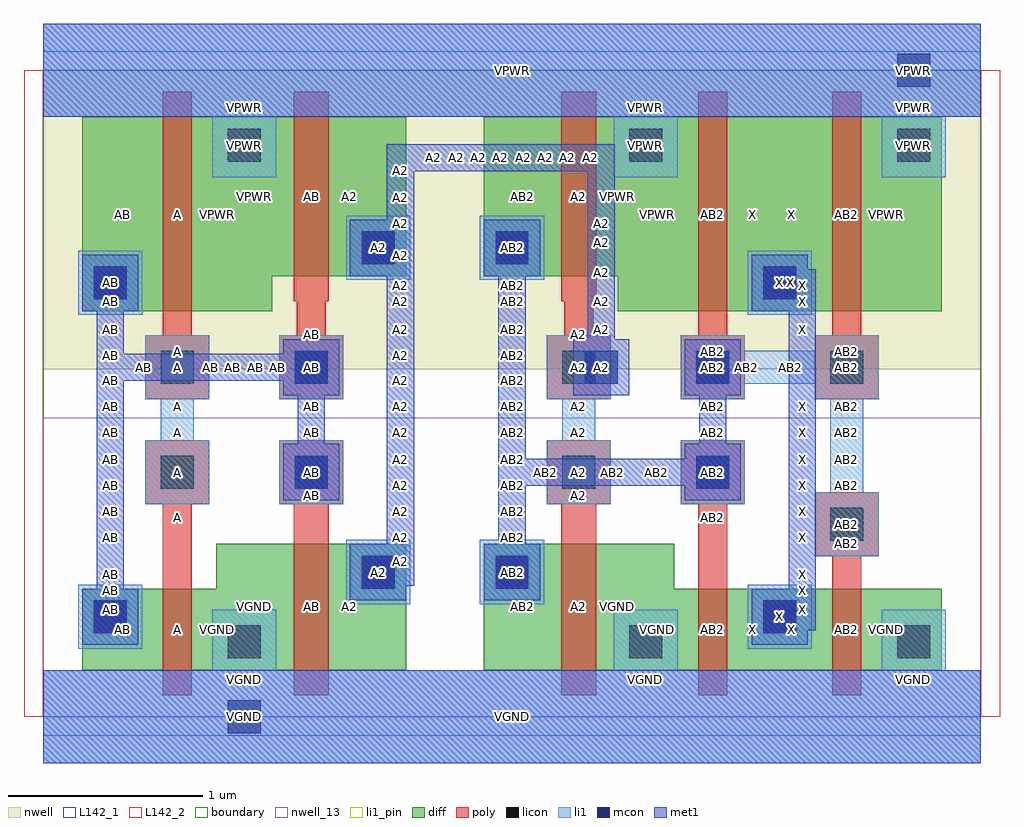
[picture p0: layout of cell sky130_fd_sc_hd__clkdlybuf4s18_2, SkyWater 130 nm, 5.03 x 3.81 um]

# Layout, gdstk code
import gdstk
lib = gdstk.Library(unit=1e-6, precision=1e-09)
def R(c, l, rs):  # rectangles x0, y0, x1, y1
    for r in rs: c.add(gdstk.rectangle(r[:2], r[2:], *l))
def A(c, l, x, y, w, h, nx, ny, dx, dy):  # array of equal rectangles
    R(c, l, [(x+i*dx, y+j*dy, x+i*dx+w, y+j*dy+h) for i in range(nx) for j in range(ny)])
def P(c, l, *ps):  # polygons
    for p in ps: c.add(gdstk.Polygon(p, *l))
nwell_13 = (64, 13)
nwell = (64, 20)
diff = (65, 20)
poly = (66, 20)
licon = (66, 44)
li1_pin = (67, 16)
li1 = (67, 20)
mcon = (67, 44)
met1 = (68, 20)
L142_1 = (142, 1)
L142_2 = (142, 2)
boundary = (235, 4)

sky130_fd_sc_hd__clkdlyb = lib.new_cell('sky130_fd_sc_hd__clkdlybuf4s18_2')
R(sky130_fd_sc_hd__clkdlyb, nwell_13, [(0,0,4.83,1.54)])
R(sky130_fd_sc_hd__clkdlyb, nwell, [(0,1.79,4.83,3.33)])
R(sky130_fd_sc_hd__clkdlyb, diff, [(0.2,0.24,0.615,0.66), (1.29,0.24,1.87,0.89), (2.27,0.24,2.67,0.89), (3.375,0.24,4.065,0.66), (4.065,0.24,4.63,0.66), (0.2,2.09,0.615,3.09), (3.375,2.09,4.065,3.09), (4.065,2.09,4.63,3.09), (1.29,2.27,1.87,3.09), (2.27,2.27,2.67,3.09)])
P(sky130_fd_sc_hd__clkdlyb, diff, [(0.2,0.24),(0.2,0.66),(0.89,0.66),(0.89,0.89),(1.87,0.89),(1.87,0.24)],
  [(2.27,0.24),(2.27,0.89),(3.25,0.89),(3.25,0.66),(4.63,0.66),(4.63,0.24)],
  [(0.2,2.09),(0.2,3.09),(1.87,3.09),(1.87,2.27),(1.18,2.27),(1.18,2.09)],
  [(2.96,2.09),(2.96,2.27),(2.27,2.27),(2.27,3.09),(4.63,3.09),(4.63,2.09)],
  [(0.615,0.24),(0.615,0.66),(0.89,0.66),(0.89,0.89),(1.29,0.89),(1.29,0.24)],
  [(2.67,0.24),(2.67,0.89),(3.25,0.89),(3.25,0.66),(3.375,0.66),(3.375,0.24)],
  [(0.615,2.09),(0.615,3.09),(1.29,3.09),(1.29,2.27),(1.18,2.27),(1.18,2.09)],
  [(2.96,2.09),(2.96,2.27),(2.67,2.27),(2.67,3.09),(3.375,3.09),(3.375,2.09)])
R(sky130_fd_sc_hd__clkdlyb, poly, [(1.29,1.02,1.305,1.095), (1.455,1.02,1.47,1.095), (2.67,1.02,2.685,1.095), (2.835,1.02,2.85,1.095)])
P(sky130_fd_sc_hd__clkdlyb, poly, [(2.67,0.11),(2.67,1.02),(2.685,1.02),(2.685,1.095),(2.595,1.095),(2.595,1.425),(2.925,1.425),(2.925,1.095),(2.835,1.095),(2.835,1.02),(2.85,1.02),(2.85,0.11)],
  [(2.595,1.635),(2.595,1.965),(2.685,1.965),(2.685,2.14),(2.67,2.14),(2.67,3.22),(2.85,3.22),(2.85,2.14),(2.835,2.14),(2.835,1.965),(2.925,1.965),(2.925,1.635)],
  [(0.615,0.11),(0.615,1.095),(0.525,1.095),(0.525,1.425),(0.855,1.425),(0.855,1.095),(0.765,1.095),(0.765,0.11)],
  [(0.525,1.635),(0.525,1.965),(0.615,1.965),(0.615,3.22),(0.765,3.22),(0.765,1.965),(0.855,1.965),(0.855,1.635)],
  [(1.29,0.11),(1.29,1.02),(1.305,1.02),(1.305,1.095),(1.215,1.095),(1.215,1.425),(1.545,1.425),(1.545,1.095),(1.455,1.095),(1.455,1.02),(1.47,1.02),(1.47,0.11)],
  [(1.215,1.635),(1.215,1.965),(1.305,1.965),(1.305,2.14),(1.29,2.14),(1.29,3.22),(1.47,3.22),(1.47,2.14),(1.455,2.14),(1.455,1.965),(1.545,1.965),(1.545,1.635)],
  [(4.065,0.11),(4.065,0.825),(3.975,0.825),(3.975,1.155),(4.305,1.155),(4.305,0.825),(4.215,0.825),(4.215,0.11)],
  [(3.375,0.11),(3.375,1.095),(3.285,1.095),(3.285,1.425),(3.615,1.425),(3.615,1.095),(3.525,1.095),(3.525,0.11)],
  [(3.285,1.635),(3.285,1.965),(3.375,1.965),(3.375,3.22),(3.525,3.22),(3.525,1.965),(3.615,1.965),(3.615,1.635)],
  [(3.975,1.635),(3.975,1.965),(4.065,1.965),(4.065,3.22),(4.215,3.22),(4.215,1.965),(4.305,1.965),(4.305,1.635)])
A(sky130_fd_sc_hd__clkdlyb, licon, 2.675, 1.715, 0.17, 0.17, 3, 1, 0.69, 0)
R(sky130_fd_sc_hd__clkdlyb, licon, [(0.95,0.3,1.12,0.47), (3.02,0.3,3.19,0.47), (4.4,0.3,4.57,0.47), (0.26,0.43,0.43,0.6), (3.71,0.43,3.88,0.6), (1.64,0.66,1.81,0.83), (2.33,0.66,2.5,0.83), (4.055,0.905,4.225,1.075), (0.605,1.175,0.775,1.345), (1.295,1.175,1.465,1.345), (2.675,1.175,2.845,1.345), (3.365,1.175,3.535,1.345), (0.605,1.715,0.775,1.885), (1.295,1.715,1.465,1.885), (0.26,2.15,0.43,2.32), (3.71,2.15,3.88,2.32), (1.64,2.33,1.81,2.5), (2.33,2.33,2.5,2.5), (0.95,2.86,1.12,3.03), (3.02,2.86,3.19,3.03), (4.4,2.86,4.57,3.03)])
R(sky130_fd_sc_hd__clkdlyb, li1_pin, [(0,-0.24,4.83,0.24), (3.63,0.35,3.96,0.68), (0,3.09,4.83,3.57)])
P(sky130_fd_sc_hd__clkdlyb, li1_pin, [(0.525,1.095),(0.525,1.425),(0.605,1.425),(0.605,1.635),(0.525,1.635),(0.525,1.965),(0.855,1.965),(0.855,1.635),(0.775,1.635),(0.775,1.425),(0.855,1.425),(0.855,1.095)])
R(sky130_fd_sc_hd__clkdlyb, li1, [(0.18,0.35,0.51,0.68), (3.63,0.35,3.96,0.68), (1.56,0.58,1.89,0.91), (2.25,0.58,2.58,0.91), (1.215,1.095,1.545,1.425), (3.285,1.095,3.615,1.425), (1.215,1.635,1.545,1.965), (0.18,2.07,0.51,2.4), (3.63,2.07,3.96,2.4), (1.56,2.25,1.89,2.58), (2.25,2.25,2.58,2.58)])
P(sky130_fd_sc_hd__clkdlyb, li1, [(2.595,1.095),(2.595,1.425),(2.675,1.425),(2.675,1.635),(2.595,1.635),(2.595,1.965),(2.925,1.965),(2.925,1.885),(2.96,1.885),(2.96,1.715),(2.925,1.715),(2.925,1.635),(2.845,1.635),(2.845,1.425),(2.925,1.425),(2.925,1.095)],
  [(0.87,2.78),(0.87,3.09),(0,3.09),(0,3.57),(4.83,3.57),(4.83,3.09),(4.65,3.09),(4.65,2.78),(4.32,2.78),(4.32,3.09),(3.27,3.09),(3.27,2.78),(2.94,2.78),(2.94,3.09),(1.2,3.09),(1.2,2.78)],
  [(0,-0.24),(0,0.24),(0.87,0.24),(0.87,0.55),(1.2,0.55),(1.2,0.24),(2.94,0.24),(2.94,0.55),(3.27,0.55),(3.27,0.24),(4.32,0.24),(4.32,0.55),(4.65,0.55),(4.65,0.24),(4.83,0.24),(4.83,-0.24)],
  [(0.525,1.095),(0.525,1.425),(0.605,1.425),(0.605,1.635),(0.525,1.635),(0.525,1.965),(0.855,1.965),(0.855,1.635),(0.775,1.635),(0.775,1.425),(0.855,1.425),(0.855,1.095)],
  [(3.975,0.825),(3.975,1.155),(4.055,1.155),(4.055,1.635),(3.975,1.635),(3.975,1.715),(3.615,1.715),(3.615,1.635),(3.285,1.635),(3.285,1.965),(3.615,1.965),(3.615,1.885),(3.975,1.885),(3.975,1.965),(4.305,1.965),(4.305,1.635),(4.225,1.635),(4.225,1.155),(4.305,1.155),(4.305,0.825)])
R(sky130_fd_sc_hd__clkdlyb, mcon, [(0.95,-0.085,1.12,0.085), (0.26,0.43,0.43,0.6), (3.71,0.43,3.88,0.6), (1.64,0.66,1.81,0.83), (2.33,0.66,2.5,0.83), (1.295,1.175,1.465,1.345), (3.365,1.175,3.535,1.345), (1.295,1.715,1.465,1.885), (2.79,1.715,2.96,1.885), (3.365,1.715,3.535,1.885), (0.26,2.15,0.43,2.32), (3.71,2.15,3.88,2.32), (1.64,2.33,1.81,2.5), (2.33,2.33,2.5,2.5), (4.4,3.245,4.57,3.415)])
R(sky130_fd_sc_hd__clkdlyb, met1, [(0,-0.24,4.83,0.24), (0,3.09,4.83,3.57)])
P(sky130_fd_sc_hd__clkdlyb, met1, [(1.58,0.6),(1.58,0.89),(1.77,0.89),(1.77,2.27),(1.58,2.27),(1.58,2.56),(1.77,2.56),(1.77,2.95),(2.945,2.95),(2.945,1.945),(3.02,1.945),(3.02,1.655),(2.73,1.655),(2.73,1.945),(2.805,1.945),(2.805,2.81),(1.91,2.81),(1.91,0.675),(1.87,0.675),(1.87,0.6)],
  [(0.2,0.37),(0.2,0.66),(0.275,0.66),(0.275,2.09),(0.2,2.09),(0.2,2.38),(0.49,2.38),(0.49,2.09),(0.415,2.09),(0.415,1.87),(1.235,1.87),(1.235,1.945),(1.525,1.945),(1.525,1.655),(1.45,1.655),(1.45,1.405),(1.525,1.405),(1.525,1.115),(1.235,1.115),(1.235,1.405),(1.31,1.405),(1.31,1.655),(1.235,1.655),(1.235,1.73),(0.415,1.73),(0.415,0.66),(0.49,0.66),(0.49,0.37)],
  [(3.65,0.37),(3.65,0.66),(3.84,0.66),(3.84,2.09),(3.65,2.09),(3.65,2.38),(3.94,2.38),(3.94,2.305),(3.98,2.305),(3.98,0.445),(3.94,0.445),(3.94,0.37)],
  [(2.27,0.6),(2.27,0.89),(2.345,0.89),(2.345,2.27),(2.27,2.27),(2.27,2.56),(2.56,2.56),(2.56,2.27),(2.485,2.27),(2.485,1.33),(3.305,1.33),(3.305,1.405),(3.38,1.405),(3.38,1.655),(3.305,1.655),(3.305,1.945),(3.595,1.945),(3.595,1.655),(3.52,1.655),(3.52,1.405),(3.595,1.405),(3.595,1.115),(3.305,1.115),(3.305,1.19),(2.485,1.19),(2.485,0.89),(2.56,0.89),(2.56,0.6)])
R(sky130_fd_sc_hd__clkdlyb, L142_1, [(0,-0.1,4.83,0), (0,3.33,4.83,3.43)])
R(sky130_fd_sc_hd__clkdlyb, L142_2, [(-0.1,0,0,3.33), (4.83,0,4.93,3.33)])
R(sky130_fd_sc_hd__clkdlyb, boundary, [(0,0,4.83,3.33)])
sky130_fd_sc_hd__clkdlyb.add(gdstk.Label('AB', (0.407,0.45), layer=65, texttype=20))
sky130_fd_sc_hd__clkdlyb.add(gdstk.Label('VGND', (0.897,0.45), layer=65, texttype=20))
sky130_fd_sc_hd__clkdlyb.add(gdstk.Label('VGND', (3.167,0.45), layer=65, texttype=20))
sky130_fd_sc_hd__clkdlyb.add(gdstk.Label('X', (3.657,0.45), layer=65, texttype=20))
sky130_fd_sc_hd__clkdlyb.add(gdstk.Label('VGND', (1.09,0.565), layer=65, texttype=20))
sky130_fd_sc_hd__clkdlyb.add(gdstk.Label('A2', (1.58,0.565), layer=65, texttype=20))
sky130_fd_sc_hd__clkdlyb.add(gdstk.Label('X', (3.857,0.45), layer=65, texttype=20))
sky130_fd_sc_hd__clkdlyb.add(gdstk.Label('VGND', (4.347,0.45), layer=65, texttype=20))
sky130_fd_sc_hd__clkdlyb.add(gdstk.Label('AB2', (2.47,0.565), layer=65, texttype=20))
sky130_fd_sc_hd__clkdlyb.add(gdstk.Label('VGND', (2.96,0.565), layer=65, texttype=20))
sky130_fd_sc_hd__clkdlyb.add(gdstk.Label('AB', (0.407,0.45), layer=65, texttype=20))
sky130_fd_sc_hd__clkdlyb.add(gdstk.Label('VGND', (0.897,0.45), layer=65, texttype=20))
sky130_fd_sc_hd__clkdlyb.add(gdstk.Label('VGND', (3.167,0.45), layer=65, texttype=20))
sky130_fd_sc_hd__clkdlyb.add(gdstk.Label('X', (3.657,0.45), layer=65, texttype=20))
sky130_fd_sc_hd__clkdlyb.add(gdstk.Label('VGND', (1.09,0.565), layer=65, texttype=20))
sky130_fd_sc_hd__clkdlyb.add(gdstk.Label('A2', (1.58,0.565), layer=65, texttype=20))
sky130_fd_sc_hd__clkdlyb.add(gdstk.Label('X', (3.857,0.45), layer=65, texttype=20))
sky130_fd_sc_hd__clkdlyb.add(gdstk.Label('VGND', (4.347,0.45), layer=65, texttype=20))
sky130_fd_sc_hd__clkdlyb.add(gdstk.Label('AB2', (2.47,0.565), layer=65, texttype=20))
sky130_fd_sc_hd__clkdlyb.add(gdstk.Label('VGND', (2.96,0.565), layer=65, texttype=20))
sky130_fd_sc_hd__clkdlyb.add(gdstk.Label('AB', (0.345,0.515), layer=65, texttype=20))
sky130_fd_sc_hd__clkdlyb.add(gdstk.Label('VGND', (1.035,0.385), layer=65, texttype=20))
sky130_fd_sc_hd__clkdlyb.add(gdstk.Label('VGND', (4.485,0.385), layer=65, texttype=20))
sky130_fd_sc_hd__clkdlyb.add(gdstk.Label('VGND', (3.105,0.385), layer=65, texttype=20))
sky130_fd_sc_hd__clkdlyb.add(gdstk.Label('X', (3.795,0.515), layer=65, texttype=20))
sky130_fd_sc_hd__clkdlyb.add(gdstk.Label('A2', (1.725,0.745), layer=65, texttype=20))
sky130_fd_sc_hd__clkdlyb.add(gdstk.Label('AB2', (2.415,0.745), layer=65, texttype=20))
sky130_fd_sc_hd__clkdlyb.add(gdstk.Label('X', (3.857,2.59), layer=65, texttype=20))
sky130_fd_sc_hd__clkdlyb.add(gdstk.Label('VPWR', (4.347,2.59), layer=65, texttype=20))
sky130_fd_sc_hd__clkdlyb.add(gdstk.Label('VPWR', (3.167,2.59), layer=65, texttype=20))
sky130_fd_sc_hd__clkdlyb.add(gdstk.Label('X', (3.657,2.59), layer=65, texttype=20))
sky130_fd_sc_hd__clkdlyb.add(gdstk.Label('AB2', (2.47,2.68), layer=65, texttype=20))
sky130_fd_sc_hd__clkdlyb.add(gdstk.Label('VPWR', (2.96,2.68), layer=65, texttype=20))
sky130_fd_sc_hd__clkdlyb.add(gdstk.Label('VPWR', (1.09,2.68), layer=65, texttype=20))
sky130_fd_sc_hd__clkdlyb.add(gdstk.Label('A2', (1.58,2.68), layer=65, texttype=20))
sky130_fd_sc_hd__clkdlyb.add(gdstk.Label('AB', (0.407,2.59), layer=65, texttype=20))
sky130_fd_sc_hd__clkdlyb.add(gdstk.Label('VPWR', (0.897,2.59), layer=65, texttype=20))
sky130_fd_sc_hd__clkdlyb.add(gdstk.Label('X', (3.857,2.59), layer=65, texttype=20))
sky130_fd_sc_hd__clkdlyb.add(gdstk.Label('VPWR', (4.347,2.59), layer=65, texttype=20))
sky130_fd_sc_hd__clkdlyb.add(gdstk.Label('VPWR', (3.167,2.59), layer=65, texttype=20))
sky130_fd_sc_hd__clkdlyb.add(gdstk.Label('X', (3.657,2.59), layer=65, texttype=20))
sky130_fd_sc_hd__clkdlyb.add(gdstk.Label('AB2', (2.47,2.68), layer=65, texttype=20))
sky130_fd_sc_hd__clkdlyb.add(gdstk.Label('VPWR', (2.96,2.68), layer=65, texttype=20))
sky130_fd_sc_hd__clkdlyb.add(gdstk.Label('VPWR', (1.09,2.68), layer=65, texttype=20))
sky130_fd_sc_hd__clkdlyb.add(gdstk.Label('A2', (1.58,2.68), layer=65, texttype=20))
sky130_fd_sc_hd__clkdlyb.add(gdstk.Label('AB', (0.407,2.59), layer=65, texttype=20))
sky130_fd_sc_hd__clkdlyb.add(gdstk.Label('VPWR', (0.897,2.59), layer=65, texttype=20))
sky130_fd_sc_hd__clkdlyb.add(gdstk.Label('AB', (0.345,2.235), layer=65, texttype=20))
sky130_fd_sc_hd__clkdlyb.add(gdstk.Label('X', (3.795,2.235), layer=65, texttype=20))
sky130_fd_sc_hd__clkdlyb.add(gdstk.Label('A2', (1.725,2.415), layer=65, texttype=20))
sky130_fd_sc_hd__clkdlyb.add(gdstk.Label('AB2', (2.415,2.415), layer=65, texttype=20))
sky130_fd_sc_hd__clkdlyb.add(gdstk.Label('VPWR', (4.485,2.945), layer=65, texttype=20))
sky130_fd_sc_hd__clkdlyb.add(gdstk.Label('VPWR', (1.035,2.945), layer=65, texttype=20))
sky130_fd_sc_hd__clkdlyb.add(gdstk.Label('VPWR', (3.105,2.945), layer=65, texttype=20))
sky130_fd_sc_hd__clkdlyb.add(gdstk.Label('A', (0.69,0.45), layer=66, texttype=20))
sky130_fd_sc_hd__clkdlyb.add(gdstk.Label('AB2', (4.14,2.59), layer=66, texttype=20))
sky130_fd_sc_hd__clkdlyb.add(gdstk.Label('AB2', (3.45,0.45), layer=66, texttype=20))
sky130_fd_sc_hd__clkdlyb.add(gdstk.Label('AB', (1.38,0.565), layer=66, texttype=20))
sky130_fd_sc_hd__clkdlyb.add(gdstk.Label('AB2', (3.45,2.59), layer=66, texttype=20))
sky130_fd_sc_hd__clkdlyb.add(gdstk.Label('A2', (2.76,2.68), layer=66, texttype=20))
sky130_fd_sc_hd__clkdlyb.add(gdstk.Label('AB2', (4.14,0.45), layer=66, texttype=20))
sky130_fd_sc_hd__clkdlyb.add(gdstk.Label('AB', (1.38,2.68), layer=66, texttype=20))
sky130_fd_sc_hd__clkdlyb.add(gdstk.Label('A2', (2.76,0.565), layer=66, texttype=20))
sky130_fd_sc_hd__clkdlyb.add(gdstk.Label('A', (0.69,2.59), layer=66, texttype=20))
sky130_fd_sc_hd__clkdlyb.add(gdstk.Label('A', (0.69,0.45), layer=66, texttype=20))
sky130_fd_sc_hd__clkdlyb.add(gdstk.Label('AB2', (4.14,2.59), layer=66, texttype=20))
sky130_fd_sc_hd__clkdlyb.add(gdstk.Label('AB2', (3.45,0.45), layer=66, texttype=20))
sky130_fd_sc_hd__clkdlyb.add(gdstk.Label('AB', (1.38,0.565), layer=66, texttype=20))
sky130_fd_sc_hd__clkdlyb.add(gdstk.Label('AB2', (3.45,2.59), layer=66, texttype=20))
sky130_fd_sc_hd__clkdlyb.add(gdstk.Label('A2', (2.76,2.68), layer=66, texttype=20))
sky130_fd_sc_hd__clkdlyb.add(gdstk.Label('AB2', (4.14,0.45), layer=66, texttype=20))
sky130_fd_sc_hd__clkdlyb.add(gdstk.Label('AB', (1.38,2.68), layer=66, texttype=20))
sky130_fd_sc_hd__clkdlyb.add(gdstk.Label('A2', (2.76,0.565), layer=66, texttype=20))
sky130_fd_sc_hd__clkdlyb.add(gdstk.Label('A', (0.69,2.59), layer=66, texttype=20))
sky130_fd_sc_hd__clkdlyb.add(gdstk.Label('AB', (1.38,1.97), layer=66, texttype=20))
sky130_fd_sc_hd__clkdlyb.add(gdstk.Label('AB', (1.38,1.14), layer=66, texttype=20))
sky130_fd_sc_hd__clkdlyb.add(gdstk.Label('A2', (2.76,1.97), layer=66, texttype=20))
sky130_fd_sc_hd__clkdlyb.add(gdstk.Label('A2', (2.76,1.14), layer=66, texttype=20))
sky130_fd_sc_hd__clkdlyb.add(gdstk.Label('AB2', (3.45,1.025), layer=66, texttype=20))
sky130_fd_sc_hd__clkdlyb.add(gdstk.Label('AB2', (3.45,1.88), layer=66, texttype=20))
sky130_fd_sc_hd__clkdlyb.add(gdstk.Label('AB2', (4.14,1.88), layer=66, texttype=20))
sky130_fd_sc_hd__clkdlyb.add(gdstk.Label('AB2', (4.14,0.89), layer=66, texttype=20))
sky130_fd_sc_hd__clkdlyb.add(gdstk.Label('A', (0.69,1.025), layer=66, texttype=20))
sky130_fd_sc_hd__clkdlyb.add(gdstk.Label('A', (0.69,1.88), layer=66, texttype=20))
sky130_fd_sc_hd__clkdlyb.add(gdstk.Label('AB', (1.38,1.8), layer=66, texttype=20))
sky130_fd_sc_hd__clkdlyb.add(gdstk.Label('AB', (1.38,1.26), layer=66, texttype=20))
sky130_fd_sc_hd__clkdlyb.add(gdstk.Label('A2', (2.76,1.8), layer=66, texttype=20))
sky130_fd_sc_hd__clkdlyb.add(gdstk.Label('A2', (2.76,1.26), layer=66, texttype=20))
sky130_fd_sc_hd__clkdlyb.add(gdstk.Label('AB2', (3.45,1.26), layer=66, texttype=20))
sky130_fd_sc_hd__clkdlyb.add(gdstk.Label('AB2', (3.45,1.8), layer=66, texttype=20))
sky130_fd_sc_hd__clkdlyb.add(gdstk.Label('AB2', (4.14,1.8), layer=66, texttype=20))
sky130_fd_sc_hd__clkdlyb.add(gdstk.Label('AB2', (4.14,0.99), layer=66, texttype=20))
sky130_fd_sc_hd__clkdlyb.add(gdstk.Label('A', (0.69,1.26), layer=66, texttype=20))
sky130_fd_sc_hd__clkdlyb.add(gdstk.Label('A', (0.69,1.8), layer=66, texttype=20))
sky130_fd_sc_hd__clkdlyb.add(gdstk.Label('AB', (0.345,2.235), layer=66, texttype=44))
sky130_fd_sc_hd__clkdlyb.add(gdstk.Label('X', (3.795,2.235), layer=66, texttype=44))
sky130_fd_sc_hd__clkdlyb.add(gdstk.Label('A2', (1.725,2.415), layer=66, texttype=44))
sky130_fd_sc_hd__clkdlyb.add(gdstk.Label('AB2', (2.415,2.415), layer=66, texttype=44))
sky130_fd_sc_hd__clkdlyb.add(gdstk.Label('VPWR', (4.485,2.945), layer=66, texttype=44))
sky130_fd_sc_hd__clkdlyb.add(gdstk.Label('VPWR', (1.035,2.945), layer=66, texttype=44))
sky130_fd_sc_hd__clkdlyb.add(gdstk.Label('VPWR', (3.105,2.945), layer=66, texttype=44))
sky130_fd_sc_hd__clkdlyb.add(gdstk.Label('AB', (0.345,0.515), layer=66, texttype=44))
sky130_fd_sc_hd__clkdlyb.add(gdstk.Label('VGND', (1.035,0.385), layer=66, texttype=44))
sky130_fd_sc_hd__clkdlyb.add(gdstk.Label('VGND', (4.485,0.385), layer=66, texttype=44))
sky130_fd_sc_hd__clkdlyb.add(gdstk.Label('VGND', (3.105,0.385), layer=66, texttype=44))
sky130_fd_sc_hd__clkdlyb.add(gdstk.Label('X', (3.795,0.515), layer=66, texttype=44))
sky130_fd_sc_hd__clkdlyb.add(gdstk.Label('A2', (1.725,0.745), layer=66, texttype=44))
sky130_fd_sc_hd__clkdlyb.add(gdstk.Label('AB2', (2.415,0.745), layer=66, texttype=44))
sky130_fd_sc_hd__clkdlyb.add(gdstk.Label('AB', (1.38,1.8), layer=66, texttype=44))
sky130_fd_sc_hd__clkdlyb.add(gdstk.Label('AB', (1.38,1.26), layer=66, texttype=44))
sky130_fd_sc_hd__clkdlyb.add(gdstk.Label('A2', (2.76,1.8), layer=66, texttype=44))
sky130_fd_sc_hd__clkdlyb.add(gdstk.Label('A2', (2.76,1.26), layer=66, texttype=44))
sky130_fd_sc_hd__clkdlyb.add(gdstk.Label('AB2', (3.45,1.26), layer=66, texttype=44))
sky130_fd_sc_hd__clkdlyb.add(gdstk.Label('AB2', (3.45,1.8), layer=66, texttype=44))
sky130_fd_sc_hd__clkdlyb.add(gdstk.Label('AB2', (4.14,1.8), layer=66, texttype=44))
sky130_fd_sc_hd__clkdlyb.add(gdstk.Label('AB2', (4.14,0.99), layer=66, texttype=44))
sky130_fd_sc_hd__clkdlyb.add(gdstk.Label('A', (0.69,1.26), layer=66, texttype=44))
sky130_fd_sc_hd__clkdlyb.add(gdstk.Label('A', (0.69,1.8), layer=66, texttype=44))
sky130_fd_sc_hd__clkdlyb.add(gdstk.Label('VPWR', (2.415,3.33), layer=67, texttype=20))
sky130_fd_sc_hd__clkdlyb.add(gdstk.Label('VGND', (2.415,0), layer=67, texttype=20))
sky130_fd_sc_hd__clkdlyb.add(gdstk.Label('VPWR', (2.415,3.33), layer=67, texttype=20))
sky130_fd_sc_hd__clkdlyb.add(gdstk.Label('VGND', (2.415,0), layer=67, texttype=20))
sky130_fd_sc_hd__clkdlyb.add(gdstk.Label('VGND', (1.035,0.192), layer=67, texttype=20))
sky130_fd_sc_hd__clkdlyb.add(gdstk.Label('VGND', (4.485,0.192), layer=67, texttype=20))
sky130_fd_sc_hd__clkdlyb.add(gdstk.Label('VGND', (3.105,0.192), layer=67, texttype=20))
sky130_fd_sc_hd__clkdlyb.add(gdstk.Label('A2', (2.817,1.8), layer=67, texttype=20))
sky130_fd_sc_hd__clkdlyb.add(gdstk.Label('A2', (2.76,1.732), layer=67, texttype=20))
sky130_fd_sc_hd__clkdlyb.add(gdstk.Label('A2', (2.76,1.597), layer=67, texttype=20))
sky130_fd_sc_hd__clkdlyb.add(gdstk.Label('A2', (2.76,1.462), layer=67, texttype=20))
sky130_fd_sc_hd__clkdlyb.add(gdstk.Label('A2', (2.76,1.327), layer=67, texttype=20))
sky130_fd_sc_hd__clkdlyb.add(gdstk.Label('AB2', (3.507,1.8), layer=67, texttype=20))
sky130_fd_sc_hd__clkdlyb.add(gdstk.Label('AB2', (3.622,1.8), layer=67, texttype=20))
sky130_fd_sc_hd__clkdlyb.add(gdstk.Label('AB2', (3.737,1.8), layer=67, texttype=20))
sky130_fd_sc_hd__clkdlyb.add(gdstk.Label('AB2', (3.852,1.8), layer=67, texttype=20))
sky130_fd_sc_hd__clkdlyb.add(gdstk.Label('AB2', (3.967,1.8), layer=67, texttype=20))
sky130_fd_sc_hd__clkdlyb.add(gdstk.Label('AB2', (4.082,1.8), layer=67, texttype=20))
sky130_fd_sc_hd__clkdlyb.add(gdstk.Label('AB2', (4.14,1.732), layer=67, texttype=20))
sky130_fd_sc_hd__clkdlyb.add(gdstk.Label('AB2', (4.14,1.597), layer=67, texttype=20))
sky130_fd_sc_hd__clkdlyb.add(gdstk.Label('AB2', (4.14,1.462), layer=67, texttype=20))
sky130_fd_sc_hd__clkdlyb.add(gdstk.Label('AB2', (4.14,1.327), layer=67, texttype=20))
sky130_fd_sc_hd__clkdlyb.add(gdstk.Label('AB2', (4.14,1.192), layer=67, texttype=20))
sky130_fd_sc_hd__clkdlyb.add(gdstk.Label('AB2', (4.14,1.057), layer=67, texttype=20))
sky130_fd_sc_hd__clkdlyb.add(gdstk.Label('VPWR', (4.485,3.137), layer=67, texttype=20))
sky130_fd_sc_hd__clkdlyb.add(gdstk.Label('VPWR', (1.035,3.137), layer=67, texttype=20))
sky130_fd_sc_hd__clkdlyb.add(gdstk.Label('VPWR', (3.105,3.137), layer=67, texttype=20))
sky130_fd_sc_hd__clkdlyb.add(gdstk.Label('A', (0.69,1.327), layer=67, texttype=20))
sky130_fd_sc_hd__clkdlyb.add(gdstk.Label('A', (0.69,1.462), layer=67, texttype=20))
sky130_fd_sc_hd__clkdlyb.add(gdstk.Label('A', (0.69,1.597), layer=67, texttype=20))
sky130_fd_sc_hd__clkdlyb.add(gdstk.Label('A', (0.69,1.732), layer=67, texttype=20))
sky130_fd_sc_hd__clkdlyb.add(gdstk.Label('AB', (0.345,0.515), layer=67, texttype=20))
sky130_fd_sc_hd__clkdlyb.add(gdstk.Label('AB', (0.345,0.515), layer=67, texttype=20))
sky130_fd_sc_hd__clkdlyb.add(gdstk.Label('AB', (0.345,2.235), layer=67, texttype=20))
sky130_fd_sc_hd__clkdlyb.add(gdstk.Label('AB', (0.345,2.235), layer=67, texttype=20))
sky130_fd_sc_hd__clkdlyb.add(gdstk.Label('AB', (1.38,1.8), layer=67, texttype=20))
sky130_fd_sc_hd__clkdlyb.add(gdstk.Label('AB', (1.38,1.8), layer=67, texttype=20))
sky130_fd_sc_hd__clkdlyb.add(gdstk.Label('AB', (1.38,1.26), layer=67, texttype=20))
sky130_fd_sc_hd__clkdlyb.add(gdstk.Label('AB', (1.38,1.26), layer=67, texttype=20))
sky130_fd_sc_hd__clkdlyb.add(gdstk.Label('VGND', (1.035,0.385), layer=67, texttype=20))
sky130_fd_sc_hd__clkdlyb.add(gdstk.Label('VGND', (1.035,0), layer=67, texttype=20))
sky130_fd_sc_hd__clkdlyb.add(gdstk.Label('VGND', (4.485,0.385), layer=67, texttype=20))
sky130_fd_sc_hd__clkdlyb.add(gdstk.Label('VGND', (3.105,0.385), layer=67, texttype=20))
sky130_fd_sc_hd__clkdlyb.add(gdstk.Label('X', (3.795,0.515), layer=67, texttype=20))
sky130_fd_sc_hd__clkdlyb.add(gdstk.Label('X', (3.795,0.515), layer=67, texttype=20))
sky130_fd_sc_hd__clkdlyb.add(gdstk.Label('X', (3.795,2.235), layer=67, texttype=20))
sky130_fd_sc_hd__clkdlyb.add(gdstk.Label('X', (3.795,2.235), layer=67, texttype=20))
sky130_fd_sc_hd__clkdlyb.add(gdstk.Label('A2', (1.725,0.745), layer=67, texttype=20))
sky130_fd_sc_hd__clkdlyb.add(gdstk.Label('A2', (1.725,0.745), layer=67, texttype=20))
sky130_fd_sc_hd__clkdlyb.add(gdstk.Label('A2', (1.725,2.415), layer=67, texttype=20))
sky130_fd_sc_hd__clkdlyb.add(gdstk.Label('A2', (1.725,2.415), layer=67, texttype=20))
sky130_fd_sc_hd__clkdlyb.add(gdstk.Label('A2', (2.875,1.8), layer=67, texttype=20))
sky130_fd_sc_hd__clkdlyb.add(gdstk.Label('A2', (2.76,1.8), layer=67, texttype=20))
sky130_fd_sc_hd__clkdlyb.add(gdstk.Label('A2', (2.76,1.26), layer=67, texttype=20))
sky130_fd_sc_hd__clkdlyb.add(gdstk.Label('AB2', (2.415,0.745), layer=67, texttype=20))
sky130_fd_sc_hd__clkdlyb.add(gdstk.Label('AB2', (2.415,0.745), layer=67, texttype=20))
sky130_fd_sc_hd__clkdlyb.add(gdstk.Label('AB2', (2.415,2.415), layer=67, texttype=20))
sky130_fd_sc_hd__clkdlyb.add(gdstk.Label('AB2', (2.415,2.415), layer=67, texttype=20))
sky130_fd_sc_hd__clkdlyb.add(gdstk.Label('AB2', (3.45,1.26), layer=67, texttype=20))
sky130_fd_sc_hd__clkdlyb.add(gdstk.Label('AB2', (3.45,1.26), layer=67, texttype=20))
sky130_fd_sc_hd__clkdlyb.add(gdstk.Label('AB2', (3.45,1.8), layer=67, texttype=20))
sky130_fd_sc_hd__clkdlyb.add(gdstk.Label('AB2', (3.45,1.8), layer=67, texttype=20))
sky130_fd_sc_hd__clkdlyb.add(gdstk.Label('AB2', (4.14,1.8), layer=67, texttype=20))
sky130_fd_sc_hd__clkdlyb.add(gdstk.Label('AB2', (4.14,0.99), layer=67, texttype=20))
sky130_fd_sc_hd__clkdlyb.add(gdstk.Label('VPWR', (4.485,2.945), layer=67, texttype=20))
sky130_fd_sc_hd__clkdlyb.add(gdstk.Label('VPWR', (4.485,3.33), layer=67, texttype=20))
sky130_fd_sc_hd__clkdlyb.add(gdstk.Label('VPWR', (1.035,2.945), layer=67, texttype=20))
sky130_fd_sc_hd__clkdlyb.add(gdstk.Label('VPWR', (3.105,2.945), layer=67, texttype=20))
sky130_fd_sc_hd__clkdlyb.add(gdstk.Label('A', (0.69,1.26), layer=67, texttype=20))
sky130_fd_sc_hd__clkdlyb.add(gdstk.Label('A', (0.69,1.8), layer=67, texttype=20))
sky130_fd_sc_hd__clkdlyb.add(gdstk.Label('X', (3.795,0.515), layer=67, texttype=5))
sky130_fd_sc_hd__clkdlyb.add(gdstk.Label('A', (0.69,1.26), layer=67, texttype=5))
sky130_fd_sc_hd__clkdlyb.add(gdstk.Label('VGND', (2.415,0), layer=67, texttype=5))
sky130_fd_sc_hd__clkdlyb.add(gdstk.Label('VPWR', (2.415,3.33), layer=67, texttype=5))
sky130_fd_sc_hd__clkdlyb.add(gdstk.Label('AB', (0.345,0.515), layer=67, texttype=44))
sky130_fd_sc_hd__clkdlyb.add(gdstk.Label('AB', (0.345,2.235), layer=67, texttype=44))
sky130_fd_sc_hd__clkdlyb.add(gdstk.Label('AB', (1.38,1.8), layer=67, texttype=44))
sky130_fd_sc_hd__clkdlyb.add(gdstk.Label('AB', (1.38,1.26), layer=67, texttype=44))
sky130_fd_sc_hd__clkdlyb.add(gdstk.Label('VGND', (1.035,0), layer=67, texttype=44))
sky130_fd_sc_hd__clkdlyb.add(gdstk.Label('X', (3.795,0.515), layer=67, texttype=44))
sky130_fd_sc_hd__clkdlyb.add(gdstk.Label('X', (3.795,2.235), layer=67, texttype=44))
sky130_fd_sc_hd__clkdlyb.add(gdstk.Label('A2', (1.725,0.745), layer=67, texttype=44))
sky130_fd_sc_hd__clkdlyb.add(gdstk.Label('A2', (1.725,2.415), layer=67, texttype=44))
sky130_fd_sc_hd__clkdlyb.add(gdstk.Label('A2', (2.875,1.8), layer=67, texttype=44))
sky130_fd_sc_hd__clkdlyb.add(gdstk.Label('AB2', (2.415,0.745), layer=67, texttype=44))
sky130_fd_sc_hd__clkdlyb.add(gdstk.Label('AB2', (2.415,2.415), layer=67, texttype=44))
sky130_fd_sc_hd__clkdlyb.add(gdstk.Label('AB2', (3.45,1.26), layer=67, texttype=44))
sky130_fd_sc_hd__clkdlyb.add(gdstk.Label('AB2', (3.45,1.8), layer=67, texttype=44))
sky130_fd_sc_hd__clkdlyb.add(gdstk.Label('VPWR', (4.485,3.33), layer=67, texttype=44))
sky130_fd_sc_hd__clkdlyb.add(gdstk.Label('X', (3.91,1.732), layer=68, texttype=20))
sky130_fd_sc_hd__clkdlyb.add(gdstk.Label('A2', (2.472,2.88), layer=68, texttype=20))
sky130_fd_sc_hd__clkdlyb.add(gdstk.Label('AB2', (3.45,1.732), layer=68, texttype=20))
sky130_fd_sc_hd__clkdlyb.add(gdstk.Label('A2', (2.875,1.862), layer=68, texttype=20))
sky130_fd_sc_hd__clkdlyb.add(gdstk.Label('X', (3.852,2.235), layer=68, texttype=20))
sky130_fd_sc_hd__clkdlyb.add(gdstk.Label('X', (3.91,1.862), layer=68, texttype=20))
sky130_fd_sc_hd__clkdlyb.add(gdstk.Label('X', (3.91,1.997), layer=68, texttype=20))
sky130_fd_sc_hd__clkdlyb.add(gdstk.Label('X', (3.91,2.137), layer=68, texttype=20))
sky130_fd_sc_hd__clkdlyb.add(gdstk.Label('X', (3.91,2.22), layer=68, texttype=20))
sky130_fd_sc_hd__clkdlyb.add(gdstk.Label('A2', (2.587,2.88), layer=68, texttype=20))
sky130_fd_sc_hd__clkdlyb.add(gdstk.Label('A2', (2.702,2.88), layer=68, texttype=20))
sky130_fd_sc_hd__clkdlyb.add(gdstk.Label('A2', (2.817,2.88), layer=68, texttype=20))
sky130_fd_sc_hd__clkdlyb.add(gdstk.Label('A2', (2.875,2.812), layer=68, texttype=20))
sky130_fd_sc_hd__clkdlyb.add(gdstk.Label('A2', (2.875,2.677), layer=68, texttype=20))
sky130_fd_sc_hd__clkdlyb.add(gdstk.Label('A2', (2.875,2.542), layer=68, texttype=20))
sky130_fd_sc_hd__clkdlyb.add(gdstk.Label('A2', (2.875,2.445), layer=68, texttype=20))
sky130_fd_sc_hd__clkdlyb.add(gdstk.Label('A2', (2.875,2.377), layer=68, texttype=20))
sky130_fd_sc_hd__clkdlyb.add(gdstk.Label('A2', (2.875,2.287), layer=68, texttype=20))
sky130_fd_sc_hd__clkdlyb.add(gdstk.Label('A2', (2.875,2.22), layer=68, texttype=20))
sky130_fd_sc_hd__clkdlyb.add(gdstk.Label('A2', (2.875,2.137), layer=68, texttype=20))
sky130_fd_sc_hd__clkdlyb.add(gdstk.Label('A2', (2.875,1.997), layer=68, texttype=20))
sky130_fd_sc_hd__clkdlyb.add(gdstk.Label('X', (3.795,2.235), layer=68, texttype=20))
sky130_fd_sc_hd__clkdlyb.add(gdstk.Label('A2', (2.875,1.8), layer=68, texttype=20))
sky130_fd_sc_hd__clkdlyb.add(gdstk.Label('AB2', (3.45,1.8), layer=68, texttype=20))
sky130_fd_sc_hd__clkdlyb.add(gdstk.Label('VPWR', (4.485,3.33), layer=68, texttype=20))
sky130_fd_sc_hd__clkdlyb.add(gdstk.Label('AB2', (2.415,2.22), layer=68, texttype=20))
sky130_fd_sc_hd__clkdlyb.add(gdstk.Label('AB2', (2.415,2.287), layer=68, texttype=20))
sky130_fd_sc_hd__clkdlyb.add(gdstk.Label('AB2', (2.415,2.377), layer=68, texttype=20))
sky130_fd_sc_hd__clkdlyb.add(gdstk.Label('AB', (0.345,1.732), layer=68, texttype=20))
sky130_fd_sc_hd__clkdlyb.add(gdstk.Label('AB', (1.38,1.732), layer=68, texttype=20))
sky130_fd_sc_hd__clkdlyb.add(gdstk.Label('VPWR', (2.415,3.33), layer=68, texttype=20))
sky130_fd_sc_hd__clkdlyb.add(gdstk.Label('A2', (1.84,1.732), layer=68, texttype=20))
sky130_fd_sc_hd__clkdlyb.add(gdstk.Label('A2', (2.357,2.88), layer=68, texttype=20))
sky130_fd_sc_hd__clkdlyb.add(gdstk.Label('VPWR', (2.415,3.33), layer=68, texttype=20))
sky130_fd_sc_hd__clkdlyb.add(gdstk.Label('AB', (0.345,1.997), layer=68, texttype=20))
sky130_fd_sc_hd__clkdlyb.add(gdstk.Label('AB', (0.345,2.137), layer=68, texttype=20))
sky130_fd_sc_hd__clkdlyb.add(gdstk.Label('AB', (0.345,2.22), layer=68, texttype=20))
sky130_fd_sc_hd__clkdlyb.add(gdstk.Label('AB', (0.517,1.8), layer=68, texttype=20))
sky130_fd_sc_hd__clkdlyb.add(gdstk.Label('AB', (0.632,1.8), layer=68, texttype=20))
sky130_fd_sc_hd__clkdlyb.add(gdstk.Label('AB', (0.747,1.8), layer=68, texttype=20))
sky130_fd_sc_hd__clkdlyb.add(gdstk.Label('AB', (0.862,1.8), layer=68, texttype=20))
sky130_fd_sc_hd__clkdlyb.add(gdstk.Label('AB', (0.977,1.8), layer=68, texttype=20))
sky130_fd_sc_hd__clkdlyb.add(gdstk.Label('AB', (1.092,1.8), layer=68, texttype=20))
sky130_fd_sc_hd__clkdlyb.add(gdstk.Label('A2', (1.84,1.862), layer=68, texttype=20))
sky130_fd_sc_hd__clkdlyb.add(gdstk.Label('A2', (1.84,1.997), layer=68, texttype=20))
sky130_fd_sc_hd__clkdlyb.add(gdstk.Label('A2', (1.84,2.137), layer=68, texttype=20))
sky130_fd_sc_hd__clkdlyb.add(gdstk.Label('A2', (1.84,2.22), layer=68, texttype=20))
sky130_fd_sc_hd__clkdlyb.add(gdstk.Label('A2', (1.84,2.287), layer=68, texttype=20))
sky130_fd_sc_hd__clkdlyb.add(gdstk.Label('A2', (1.84,2.377), layer=68, texttype=20))
sky130_fd_sc_hd__clkdlyb.add(gdstk.Label('A2', (1.84,2.445), layer=68, texttype=20))
sky130_fd_sc_hd__clkdlyb.add(gdstk.Label('A2', (1.782,2.415), layer=68, texttype=20))
sky130_fd_sc_hd__clkdlyb.add(gdstk.Label('A2', (1.84,2.542), layer=68, texttype=20))
sky130_fd_sc_hd__clkdlyb.add(gdstk.Label('A2', (1.84,2.677), layer=68, texttype=20))
sky130_fd_sc_hd__clkdlyb.add(gdstk.Label('A2', (1.84,2.812), layer=68, texttype=20))
sky130_fd_sc_hd__clkdlyb.add(gdstk.Label('A2', (1.897,2.88), layer=68, texttype=20))
sky130_fd_sc_hd__clkdlyb.add(gdstk.Label('A2', (2.012,2.88), layer=68, texttype=20))
sky130_fd_sc_hd__clkdlyb.add(gdstk.Label('A2', (2.127,2.88), layer=68, texttype=20))
sky130_fd_sc_hd__clkdlyb.add(gdstk.Label('A2', (2.242,2.88), layer=68, texttype=20))
sky130_fd_sc_hd__clkdlyb.add(gdstk.Label('AB', (1.207,1.8), layer=68, texttype=20))
sky130_fd_sc_hd__clkdlyb.add(gdstk.Label('AB', (1.322,1.8), layer=68, texttype=20))
sky130_fd_sc_hd__clkdlyb.add(gdstk.Label('AB', (0.345,1.862), layer=68, texttype=20))
sky130_fd_sc_hd__clkdlyb.add(gdstk.Label('AB', (0.402,1.8), layer=68, texttype=20))
sky130_fd_sc_hd__clkdlyb.add(gdstk.Label('AB', (0.345,2.235), layer=68, texttype=20))
sky130_fd_sc_hd__clkdlyb.add(gdstk.Label('AB', (1.38,1.8), layer=68, texttype=20))
sky130_fd_sc_hd__clkdlyb.add(gdstk.Label('AB2', (2.415,1.732), layer=68, texttype=20))
sky130_fd_sc_hd__clkdlyb.add(gdstk.Label('A2', (1.725,2.415), layer=68, texttype=20))
sky130_fd_sc_hd__clkdlyb.add(gdstk.Label('AB2', (2.415,1.862), layer=68, texttype=20))
sky130_fd_sc_hd__clkdlyb.add(gdstk.Label('AB2', (2.415,2.415), layer=68, texttype=20))
sky130_fd_sc_hd__clkdlyb.add(gdstk.Label('AB2', (2.415,1.997), layer=68, texttype=20))
sky130_fd_sc_hd__clkdlyb.add(gdstk.Label('AB2', (2.415,2.137), layer=68, texttype=20))
sky130_fd_sc_hd__clkdlyb.add(gdstk.Label('VGND', (2.415,0), layer=68, texttype=20))
sky130_fd_sc_hd__clkdlyb.add(gdstk.Label('VGND', (2.415,0), layer=68, texttype=20))
sky130_fd_sc_hd__clkdlyb.add(gdstk.Label('AB', (1.38,1.597), layer=68, texttype=20))
sky130_fd_sc_hd__clkdlyb.add(gdstk.Label('AB2', (2.415,0.8), layer=68, texttype=20))
sky130_fd_sc_hd__clkdlyb.add(gdstk.Label('A2', (1.84,0.922), layer=68, texttype=20))
sky130_fd_sc_hd__clkdlyb.add(gdstk.Label('A2', (1.84,1.057), layer=68, texttype=20))
sky130_fd_sc_hd__clkdlyb.add(gdstk.Label('A2', (1.84,1.192), layer=68, texttype=20))
sky130_fd_sc_hd__clkdlyb.add(gdstk.Label('A2', (1.84,1.327), layer=68, texttype=20))
sky130_fd_sc_hd__clkdlyb.add(gdstk.Label('A2', (1.84,1.462), layer=68, texttype=20))
sky130_fd_sc_hd__clkdlyb.add(gdstk.Label('AB', (0.345,1.192), layer=68, texttype=20))
sky130_fd_sc_hd__clkdlyb.add(gdstk.Label('AB', (0.345,1.327), layer=68, texttype=20))
sky130_fd_sc_hd__clkdlyb.add(gdstk.Label('AB', (1.38,1.462), layer=68, texttype=20))
sky130_fd_sc_hd__clkdlyb.add(gdstk.Label('AB', (1.38,1.327), layer=68, texttype=20))
sky130_fd_sc_hd__clkdlyb.add(gdstk.Label('AB', (0.345,1.462), layer=68, texttype=20))
sky130_fd_sc_hd__clkdlyb.add(gdstk.Label('AB', (0.345,0.55), layer=68, texttype=20))
sky130_fd_sc_hd__clkdlyb.add(gdstk.Label('AB', (0.345,0.652), layer=68, texttype=20))
sky130_fd_sc_hd__clkdlyb.add(gdstk.Label('AB', (0.345,0.732), layer=68, texttype=20))
sky130_fd_sc_hd__clkdlyb.add(gdstk.Label('AB', (0.345,0.8), layer=68, texttype=20))
sky130_fd_sc_hd__clkdlyb.add(gdstk.Label('AB', (0.345,0.922), layer=68, texttype=20))
sky130_fd_sc_hd__clkdlyb.add(gdstk.Label('AB', (0.345,1.057), layer=68, texttype=20))
sky130_fd_sc_hd__clkdlyb.add(gdstk.Label('A2', (1.782,0.745), layer=68, texttype=20))
sky130_fd_sc_hd__clkdlyb.add(gdstk.Label('A2', (1.84,0.8), layer=68, texttype=20))
sky130_fd_sc_hd__clkdlyb.add(gdstk.Label('AB', (0.345,0.515), layer=68, texttype=20))
sky130_fd_sc_hd__clkdlyb.add(gdstk.Label('AB2', (2.415,0.922), layer=68, texttype=20))
sky130_fd_sc_hd__clkdlyb.add(gdstk.Label('AB2', (2.415,1.057), layer=68, texttype=20))
sky130_fd_sc_hd__clkdlyb.add(gdstk.Label('AB', (1.38,1.26), layer=68, texttype=20))
sky130_fd_sc_hd__clkdlyb.add(gdstk.Label('VGND', (1.035,0), layer=68, texttype=20))
sky130_fd_sc_hd__clkdlyb.add(gdstk.Label('AB2', (2.415,1.192), layer=68, texttype=20))
sky130_fd_sc_hd__clkdlyb.add(gdstk.Label('A2', (1.725,0.745), layer=68, texttype=20))
sky130_fd_sc_hd__clkdlyb.add(gdstk.Label('AB2', (2.415,1.327), layer=68, texttype=20))
sky130_fd_sc_hd__clkdlyb.add(gdstk.Label('AB2', (2.415,1.462), layer=68, texttype=20))
sky130_fd_sc_hd__clkdlyb.add(gdstk.Label('AB2', (2.415,0.745), layer=68, texttype=20))
sky130_fd_sc_hd__clkdlyb.add(gdstk.Label('AB2', (2.415,1.597), layer=68, texttype=20))
sky130_fd_sc_hd__clkdlyb.add(gdstk.Label('AB', (0.345,1.597), layer=68, texttype=20))
sky130_fd_sc_hd__clkdlyb.add(gdstk.Label('A2', (1.84,1.597), layer=68, texttype=20))
sky130_fd_sc_hd__clkdlyb.add(gdstk.Label('AB2', (2.817,1.26), layer=68, texttype=20))
sky130_fd_sc_hd__clkdlyb.add(gdstk.Label('AB2', (2.932,1.26), layer=68, texttype=20))
sky130_fd_sc_hd__clkdlyb.add(gdstk.Label('AB2', (3.047,1.26), layer=68, texttype=20))
sky130_fd_sc_hd__clkdlyb.add(gdstk.Label('AB2', (3.162,1.26), layer=68, texttype=20))
sky130_fd_sc_hd__clkdlyb.add(gdstk.Label('AB2', (3.277,1.26), layer=68, texttype=20))
sky130_fd_sc_hd__clkdlyb.add(gdstk.Label('AB2', (3.392,1.26), layer=68, texttype=20))
sky130_fd_sc_hd__clkdlyb.add(gdstk.Label('AB2', (3.45,1.327), layer=68, texttype=20))
sky130_fd_sc_hd__clkdlyb.add(gdstk.Label('AB2', (3.45,1.462), layer=68, texttype=20))
sky130_fd_sc_hd__clkdlyb.add(gdstk.Label('X', (3.91,0.55), layer=68, texttype=20))
sky130_fd_sc_hd__clkdlyb.add(gdstk.Label('X', (3.91,0.652), layer=68, texttype=20))
sky130_fd_sc_hd__clkdlyb.add(gdstk.Label('AB2', (3.45,1.597), layer=68, texttype=20))
sky130_fd_sc_hd__clkdlyb.add(gdstk.Label('AB2', (2.472,1.26), layer=68, texttype=20))
sky130_fd_sc_hd__clkdlyb.add(gdstk.Label('X', (3.91,1.597), layer=68, texttype=20))
sky130_fd_sc_hd__clkdlyb.add(gdstk.Label('X', (3.91,0.732), layer=68, texttype=20))
sky130_fd_sc_hd__clkdlyb.add(gdstk.Label('X', (3.91,0.8), layer=68, texttype=20))
sky130_fd_sc_hd__clkdlyb.add(gdstk.Label('X', (3.795,0.515), layer=68, texttype=20))
sky130_fd_sc_hd__clkdlyb.add(gdstk.Label('X', (3.91,0.922), layer=68, texttype=20))
sky130_fd_sc_hd__clkdlyb.add(gdstk.Label('X', (3.91,1.057), layer=68, texttype=20))
sky130_fd_sc_hd__clkdlyb.add(gdstk.Label('X', (3.91,1.192), layer=68, texttype=20))
sky130_fd_sc_hd__clkdlyb.add(gdstk.Label('X', (3.91,1.327), layer=68, texttype=20))
sky130_fd_sc_hd__clkdlyb.add(gdstk.Label('X', (3.91,1.462), layer=68, texttype=20))
sky130_fd_sc_hd__clkdlyb.add(gdstk.Label('X', (3.852,0.515), layer=68, texttype=20))
sky130_fd_sc_hd__clkdlyb.add(gdstk.Label('AB2', (3.45,1.26), layer=68, texttype=20))
sky130_fd_sc_hd__clkdlyb.add(gdstk.Label('AB2', (2.587,1.26), layer=68, texttype=20))
sky130_fd_sc_hd__clkdlyb.add(gdstk.Label('AB2', (2.702,1.26), layer=68, texttype=20))
sky130_fd_sc_hd__clkdlyb.add(gdstk.Label('VGND', (2.415,0), layer=68, texttype=5))
sky130_fd_sc_hd__clkdlyb.add(gdstk.Label('VPWR', (2.415,3.33), layer=68, texttype=5))

lib.write_gds('sky130_fd_sc_hd__clkdlybuf4s18_2.gds')
